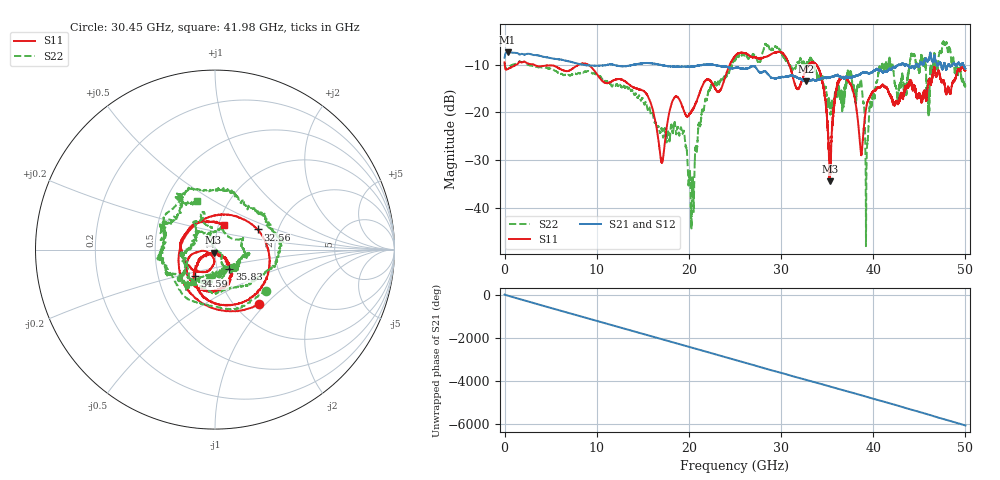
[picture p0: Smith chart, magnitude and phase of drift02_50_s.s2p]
!Created with skrf (http://scikit-rf.org).
# Hz S RI R 50.0
!freq ReS11 ImS11 ReS21 ImS21 ReS12 ImS12 ReS22 ImS22
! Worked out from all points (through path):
!   10001 points, 300 kHz to 50 GHz, reference 50 ohm
!   highest |S21| = -7.31 dB at 320.3 MHz (marker M1); lowest = -13.5 dB at 32.73 GHz (marker M2)
!   group delay of S21, straight-line fit = 335 ps
!   lowest |S11| = -34.4 dB at 35.28 GHz (marker M3), VSWR 1.04, Z = 49.2 - j1.69 ohm
!   |S11| at or under -10 dB: 3.231 GHz to 8.005 GHz (4.774 GHz wide, 85 % of centre); 9.105 GHz to 24.41 GHz (15.31 GHz wide, 91.3 % of centre); 33.83 GHz to end of sweep (the widest 3 of 6)
!   |S22| runs from -48.1 to -4.8 dB; largest |S21 - S12| = 0.014
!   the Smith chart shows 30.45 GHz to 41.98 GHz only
!   S11 on the Smith chart (normalised r, x): 30.45 GHz: 1.28, -0.92; 32.56 GHz: 1.57, +0.38; 34.59 GHz: 0.77, -0.23; 35.83 GHz: 1.14, -0.25; 41.98 GHz: 1.06, +0.30
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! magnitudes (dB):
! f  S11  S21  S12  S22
! 300 kHz  -9.4  -8.5  -8.4  -9.4
! 320.3 MHz  -10.9  -7.3  -7.3  -10.6
! 8.335 GHz  -9.7  -9.9  -9.9  -11.6
! 16.67 GHz  -25.6  -9.9  -9.9  -22.9
! 19.31 GHz  -18.8  -10.4  -10.3  -24.5
! 20.37 GHz  -19.5  -10.4  -10.3  -34.3
! 21.94 GHz  -13.1  -10.0  -10.0  -17.3
! 25 GHz  -8.2  -10.6  -10.6  -9.0
! 30.45 GHz  -8.2  -12.5  -12.4  -8.8
! 32.56 GHz  -11.6  -13.2  -13.3  -9.8
! 32.73 GHz  -10.9  -13.5  -13.5  -10.0
! 33.34 GHz  -9.5  -13.1  -13.2  -9.0
! 34.59 GHz  -14.7  -12.7  -12.7  -13.3
! 35.28 GHz  -34.4  -12.5  -12.6  -18.7
! 35.83 GHz  -17.4  -12.3  -12.3  -16.1
! 37.38 GHz  -13.6  -12.5  -12.5  -11.9
! 38.56 GHz  -26.3  -12.0  -12.0  -13.9
! 39.31 GHz  -18.3  -11.6  -11.6  -28.1
! 41.67 GHz  -15.8  -11.0  -11.1  -9.5
! 41.98 GHz  -16.7  -11.0  -11.0  -10.7
! 47.76 GHz  -14.3  -9.7  -9.7  -5.5
! 50 GHz  -11.1  -10.8  -10.8  -14.2
